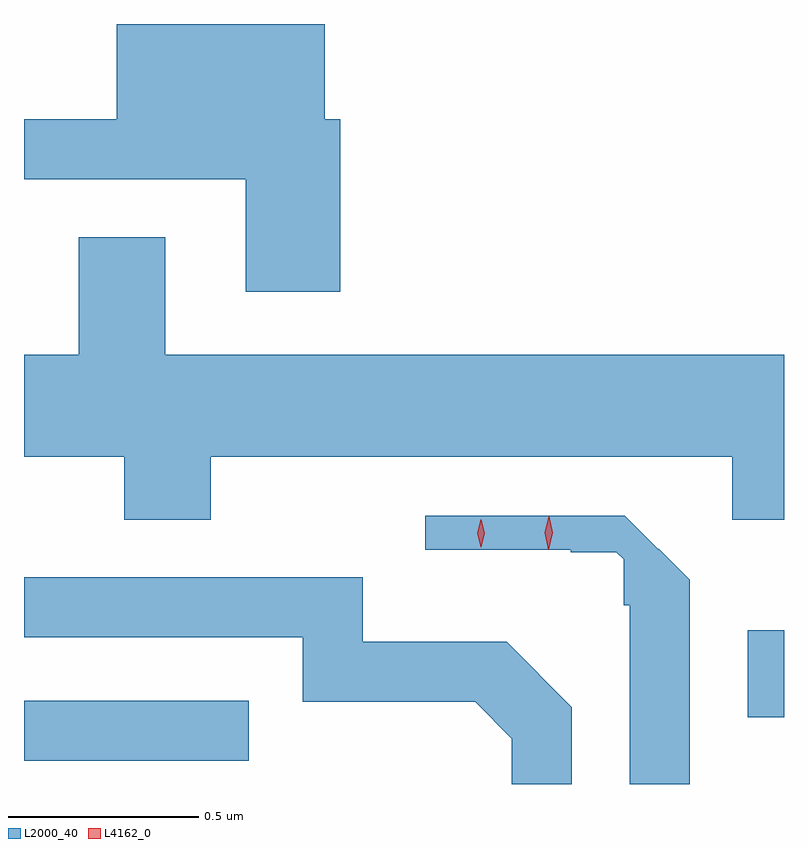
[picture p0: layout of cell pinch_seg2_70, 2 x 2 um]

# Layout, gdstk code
import gdstk
lib = gdstk.Library(unit=1e-6, precision=1e-09)
def R(c, l, rs):  # rectangles x0, y0, x1, y1
    for r in rs: c.add(gdstk.rectangle(r[:2], r[2:], *l))
def P(c, l, *ps):  # polygons
    for p in ps: c.add(gdstk.Polygon(p, *l))
L2000_40 = (2000, 40)
L4162_0 = (4162, 0)

pinch_seg2_70 = lib.new_cell('pinch_seg2_70')
R(pinch_seg2_70, L2000_40, [(1222.147,1040.856,1222.738,1041.014), (1224.051,1040.971,1224.147,1041.199)])
P(pinch_seg2_70, L2000_40, [(1222.979,1042.544),(1222.939,1042.544),(1222.939,1042.795),(1222.391,1042.795),(1222.391,1042.544),(1222.147,1042.544),(1222.147,1042.386),(1222.731,1042.386),(1222.731,1042.091),(1222.979,1042.091)],
  [(1222.639,1041.656),(1224.011,1041.656),(1224.011,1041.491),(1224.147,1041.491),(1224.147,1041.924),(1222.519,1041.924),(1222.519,1042.234),(1222.291,1042.234),(1222.291,1041.924),(1222.147,1041.924),(1222.147,1041.656),(1222.411,1041.656),(1222.411,1041.491),(1222.639,1041.491)],
  [(1223.899,1041.332),(1223.817,1041.414),(1223.816,1041.413),(1223.728,1041.501),(1223.203,1041.501),(1223.203,1041.411),(1223.586,1041.411),(1223.586,1041.405),(1223.706,1041.405),(1223.725,1041.386),(1223.725,1041.266),(1223.741,1041.266),(1223.741,1040.795),(1223.899,1040.795)],
  [(1223.589,1040.997),(1223.417,1041.169),(1223.039,1041.169),(1223.039,1041.339),(1222.147,1041.339),(1222.147,1041.181),(1222.881,1041.181),(1222.881,1041.011),(1223.334,1041.011),(1223.431,1040.914),(1223.431,1040.795),(1223.589,1040.795)])
P(pinch_seg2_70, L4162_0, [(1223.527,1041.412),(1223.518,1041.456),(1223.528,1041.5),(1223.528,1041.5),(1223.529,1041.5),(1223.538,1041.456),(1223.528,1041.412),(1223.528,1041.412)],
  [(1223.349,1041.418),(1223.34,1041.455),(1223.349,1041.491),(1223.35,1041.492),(1223.35,1041.491),(1223.36,1041.455),(1223.35,1041.418),(1223.35,1041.418)])

lib.write_gds('pinch_seg2_70.gds')
